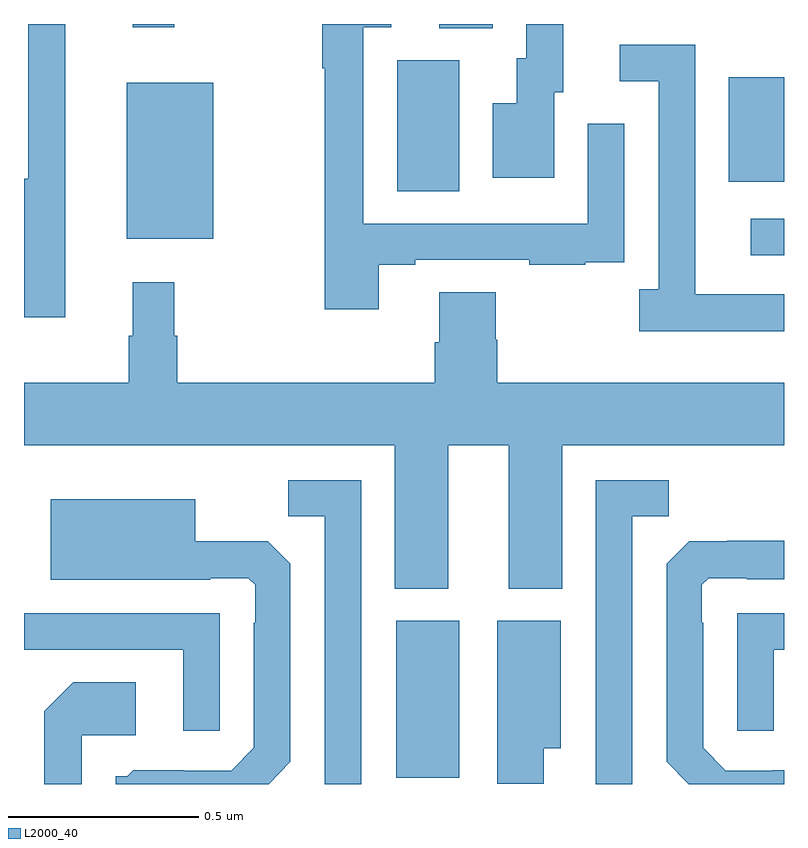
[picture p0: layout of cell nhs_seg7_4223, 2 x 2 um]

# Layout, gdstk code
import gdstk
lib = gdstk.Library(unit=1e-6, precision=1e-09)
def R(c, l, rs):  # rectangles x0, y0, x1, y1
    for r in rs: c.add(gdstk.rectangle(r[:2], r[2:], *l))
def P(c, l, *ps):  # polygons
    for p in ps: c.add(gdstk.Polygon(p, *l))
L2000_40 = (2000, 40)

nhs_seg7_4223 = lib.new_cell('nhs_seg7_4223')
R(nhs_seg7_4223, L2000_40, [(169.979,1057.017,170.146,1057.429), (170.913,1058.391,171,1058.487), (169.271,1058.435,169.498,1058.845), (169.982,1058.56,170.146,1058.904), (170.855,1058.585,171,1058.86), (170.093,1058.989,170.233,1059), (169.286,1058.991,169.396,1059)])
P(nhs_seg7_4223, L2000_40, [(169.108,1059),(169.011,1059),(169.011,1058.593),(169,1058.593),(169,1058.228),(169.108,1058.228)],
  [(170.395,1058.82),(170.419,1058.82),(170.419,1059),(170.322,1059),(170.322,1058.91),(170.297,1058.91),(170.297,1058.791),(170.234,1058.791),(170.234,1058.595),(170.395,1058.595)],
  [(169.933,1058.367),(170.029,1058.367),(170.029,1058.379),(170.329,1058.379),(170.329,1058.367),(170.477,1058.367),(170.477,1058.373),(170.579,1058.373),(170.579,1058.482),(170.58,1058.482),(170.58,1058.737),(170.484,1058.737),(170.484,1058.475),(169.893,1058.475),(169.893,1058.991),(169.966,1058.991),(169.966,1059),(169.785,1059),(169.785,1058.884),(169.792,1058.884),(169.792,1058.25),(169.933,1058.25)],
  [(171,1058.289),(170.767,1058.289),(170.767,1058.489),(170.766,1058.489),(170.766,1058.946),(170.568,1058.946),(170.568,1058.85),(170.67,1058.85),(170.67,1058.302),(170.619,1058.302),(170.619,1058.192),(171,1058.192)],
  [(170.116,1057.892),(170.276,1057.892),(170.276,1057.514),(170.416,1057.514),(170.416,1057.892),(171,1057.892),(171,1058.056),(170.246,1058.056),(170.246,1058.169),(170.241,1058.169),(170.241,1058.294),(170.093,1058.294),(170.093,1058.162),(170.081,1058.162),(170.081,1058.056),(169.403,1058.056),(169.403,1058.18),(169.396,1058.18),(169.396,1058.32),(169.286,1058.32),(169.286,1058.18),(169.275,1058.18),(169.275,1058.056),(169,1058.056),(169,1057.892),(169.976,1057.892),(169.976,1057.514),(170.116,1057.514)],
  [(170.601,1057.705),(170.697,1057.705),(170.697,1057.8),(170.505,1057.8),(170.505,1057),(170.601,1057)],
  [(169.887,1057.8),(169.696,1057.8),(169.696,1057.705),(169.791,1057.705),(169.791,1057),(169.887,1057)],
  [(169.701,1057.058),(169.701,1057.58),(169.642,1057.639),(169.45,1057.639),(169.45,1057.75),(169.07,1057.75),(169.07,1057.538),(169.49,1057.538),(169.49,1057.542),(169.59,1057.542),(169.608,1057.524),(169.608,1057.424),(169.605,1057.424),(169.605,1057.095),(169.545,1057.035),(169.422,1057.035),(169.422,1057.036),(169.288,1057.036),(169.272,1057.02),(169.241,1057.02),(169.241,1057),(169.644,1057)],
  [(171,1057.036),(170.97,1057.036),(170.97,1057.035),(170.847,1057.035),(170.787,1057.095),(170.787,1057.424),(170.784,1057.424),(170.784,1057.524),(170.802,1057.542),(170.902,1057.542),(170.902,1057.539),(171,1057.539),(171,1057.64),(170.851,1057.64),(170.851,1057.639),(170.75,1057.639),(170.691,1057.58),(170.691,1057.058),(170.749,1057),(171,1057)],
  [(170.973,1057.353),(171,1057.353),(171,1057.449),(170.877,1057.449),(170.877,1057.14),(170.973,1057.14)],
  [(169.515,1057.449),(169,1057.449),(169,1057.353),(169.419,1057.353),(169.419,1057.14),(169.515,1057.14)],
  [(170.368,1057.094),(170.413,1057.094),(170.413,1057.429),(170.246,1057.429),(170.246,1057.001),(170.368,1057.001)],
  [(169.152,1057.128),(169.294,1057.128),(169.294,1057.268),(169.129,1057.268),(169.053,1057.192),(169.053,1057),(169.152,1057)])

lib.write_gds('nhs_seg7_4223.gds')
